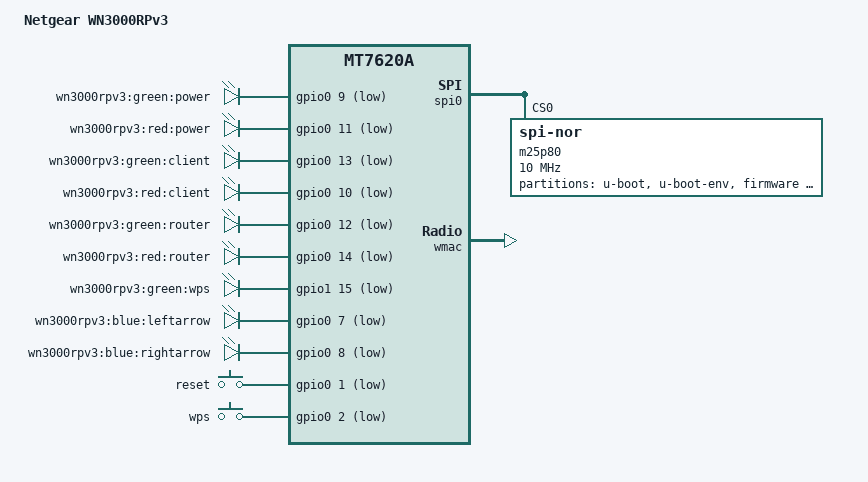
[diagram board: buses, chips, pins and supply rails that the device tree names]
/* This file is released into the public domain */

/dts-v1/;

#include "mt7620a.dtsi"

#include <dt-bindings/input/input.h>
#include <dt-bindings/gpio/gpio.h>

/ {
	compatible = "netgear,wn3000rp-v3", "ralink,mt7620a-soc";
	model = "Netgear WN3000RPv3";

	aliases {
		led-status = &led_power_green;
	};

	chosen {
		bootargs = "console=ttyS0,57600";
	};

	gpio-leds {
		compatible = "gpio-leds";

		led_power_green: power_g {
			label = "wn3000rpv3:green:power";
			gpios = <&gpio0 9 GPIO_ACTIVE_LOW>;
			default-state = "on";
		};

		power_r {
			label = "wn3000rpv3:red:power";
			gpios = <&gpio0 11 GPIO_ACTIVE_LOW>;
		};

		client_g {
			label = "wn3000rpv3:green:client";
			gpios = <&gpio0 13 GPIO_ACTIVE_LOW>;
		};

		client_r {
			label = "wn3000rpv3:red:client";
			gpios = <&gpio0 10 GPIO_ACTIVE_LOW>;
		};

		router_g {
			label = "wn3000rpv3:green:router";
			gpios = <&gpio0 12 GPIO_ACTIVE_LOW>;
		};

		router_r {
			label = "wn3000rpv3:red:router";
			gpios = <&gpio0 14 GPIO_ACTIVE_LOW>;
		};

		wps {
			label = "wn3000rpv3:green:wps";
			gpios = <&gpio1 15 GPIO_ACTIVE_LOW>;
		};

		l_arrow {
			label = "wn3000rpv3:blue:leftarrow";
			gpios = <&gpio0 7 GPIO_ACTIVE_LOW>;
		};

		r_arrow {
			label = "wn3000rpv3:blue:rightarrow";
			gpios = <&gpio0 8 GPIO_ACTIVE_LOW>;
		};
	};

	gpio-keys-polled {
		compatible = "gpio-keys-polled";
		poll-interval = <20>;

		reset {
			label = "reset";
			gpios = <&gpio0 1 GPIO_ACTIVE_LOW>;
			linux,code = <KEY_RESTART>;
		};

		wps {
			label = "wps";
			gpios = <&gpio0 2 GPIO_ACTIVE_LOW>;
			linux,code = <KEY_WPS_BUTTON>;
		};
	};
};

&gpio1 {
	status = "okay";
};

&spi0 {
	status = "okay";

	m25p80@0 {
		compatible = "jedec,spi-nor";
		reg = <0>;
		spi-max-frequency = <10000000>;

		partitions {
			compatible = "fixed-partitions";
			#address-cells = <1>;
			#size-cells = <1>;

			partition@0 {
				label = "u-boot";
				reg = <0x0 0x30000>;
				read-only;
			};

			partition@30000 {
				label = "u-boot-env";
				reg = <0x30000 0x10000>;
				read-only;
			};

			partition@40000 {
				label = "firmware";
				reg = <0x40000 0x7b0000>;
			};

			art: partition@7f0000 {
				label = "art";
				reg = <0x7f0000 0x10000>;
				read-only;
			};
		};
	};
};

&ethernet {
	mtd-mac-address = <&art 0x0>;
};

&wmac {
	mtd-mac-address = <&art 0x6>;
	ralink,mtd-eeprom = <&art 0x1000>;
};

&pinctrl {
	state_default: pinctrl0 {
		default {
			ralink,group = "i2c", "uartf", "spi refclk";
			ralink,function = "gpio";
		};
	};
};
